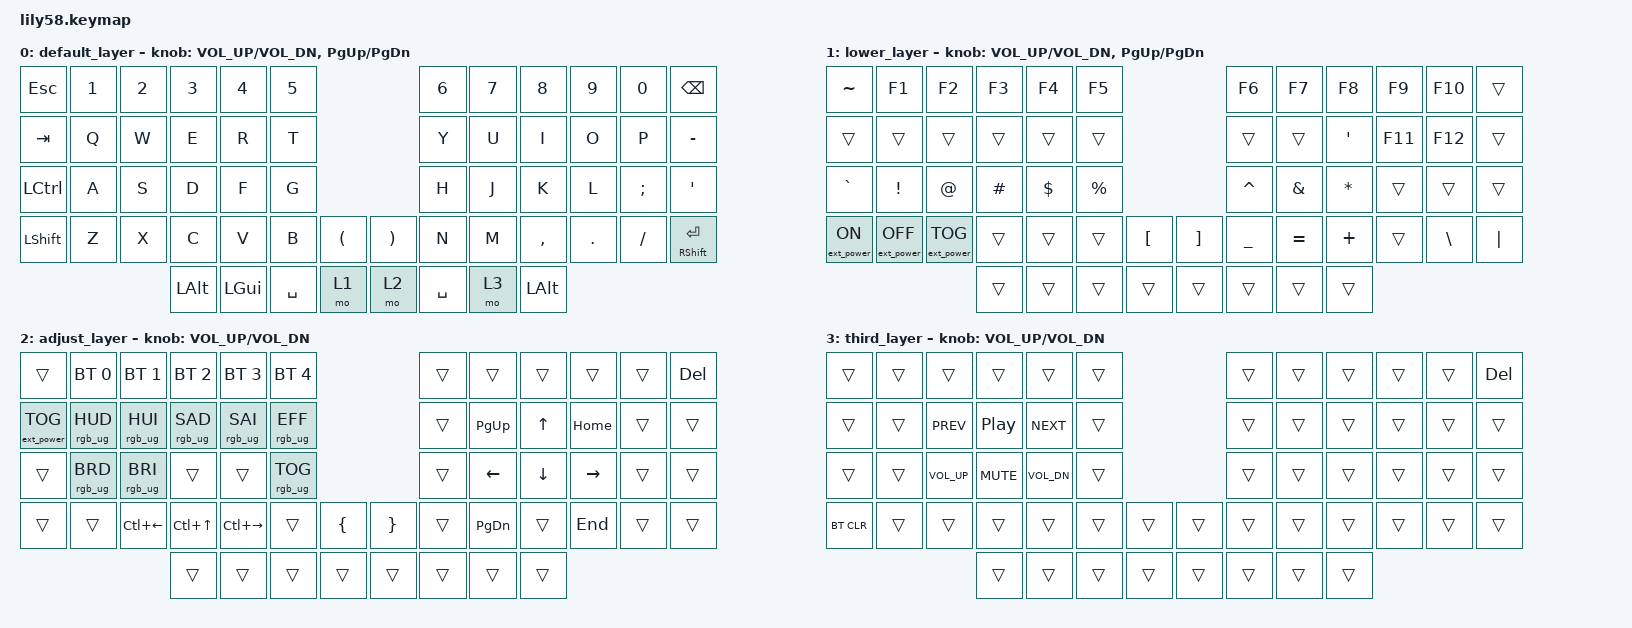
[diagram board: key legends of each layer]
/*
 * Copyright (c) 2020 The ZMK Contributors
 *
 * SPDX-License-Identifier: MIT
 */

#include <behaviors.dtsi>
#include <dt-bindings/zmk/keys.h>
#include <dt-bindings/zmk/bt.h>
#include <dt-bindings/zmk/ext_power.h>
#include <dt-bindings/zmk/rgb.h>
/ {
        // Activate ADJUST layer by pressing raise and lower
/*    conditional_layers {
        compatible = "zmk,conditional-layers";

        adjust_layer {
            if-layers = <1 2>;
            then-layer = <3>;
        };
    }; */

    keymap {
        compatible = "zmk,keymap";

        default_layer {
// ------------------------------------------------------------------------------------------------------------
// |  ESC  |  1  |  2  |  3   |  4   |  5   |                   |  6   |  7    |  8    |  9   |   0   |   BSPC |
// |  TAB  |  Q  |  W  |  E   |  R   |  T   |                   |  Y   |  U    |  I    |  O   |   P   |   -    |
// |  CTRL |  A  |  S  |  D   |  F   |  G   |                   |  H   |  J    |  K    |  L   |   ;   |  ' |
// |  SHIFT |  Z  |  X  |  C   |  V  |  B   |  (     |  |)      |  N   |  M    |  ,    |  .   |   /   |  ENTER |
//                     | ALT  | GUI  | SPACE|  LOWER |  | RAISE | SPACE| ???  | LALT   |
            bindings = <
&kp ESC   &kp N1 &kp N2 &kp N3   &kp N4   &kp N5                     &kp N6 &kp N7   &kp N8    &kp N9  &kp N0   &kp BSPC
&kp TAB   &kp Q  &kp W  &kp E    &kp R    &kp T                      &kp Y  &kp U    &kp I     &kp O   &kp P    &kp MINUS
&kp LCTRL &kp A  &kp S  &kp D    &kp F    &kp G                      &kp H  &kp J    &kp K     &kp L   &kp SEMI &kp SQT
&kp LSHFT &kp Z  &kp X  &kp C    &kp V    &kp B  &kp LPAR   &kp RPAR  &kp N  &kp M    &kp COMMA &kp DOT &kp FSLH &mt RSHFT RET
                        &kp LALT &kp LGUI &kp SPACE &mo 1   &mo 2 &kp SPACE  &mo 3 &kp LALT
            >;

            sensor-bindings = <&inc_dec_kp C_VOL_UP C_VOL_DN &inc_dec_kp PG_UP PG_DN>;
        };

        lower_layer {
// ------------------------------------------------------------------------------------------------------------
// |   ~   |  F1 |  F2 |  F3  |  F4  |  F5  |                   |  F6  |  F7   |  F8   |  F9  |  F10  |       |
// |       |     |     |      |      |      |                   |      |       |   '   |  F11 |  F12  |       |
// |   `   |  !  |  @  |  #   |  $   |  %   |                   |  ^   |  &    |  *    |      |       |       |
// |EXPWRON|EXPWROF|EXPWRTG|  |      |      |   [    |  |   ]   |  _   |  =    |  +    |      |   \   |  "|"  |
//                     |      |      |      |        |  |       |      |       |       |
            bindings = <
&kp TILDE &kp F1     &kp F2           &kp F3            &kp F4            &kp F5                       &kp F6 &kp F7    &kp F8    &kp F9    &kp F10   &trans 
&trans  &trans     &trans     &trans      &trans &trans                 &trans    &trans    &kp SQT   &kp F11   &kp F12    &trans
&kp GRAVE  &kp EXCL         &kp AT            &kp HASH          &kp DOLLAR   &kp PRCNT                    &kp CARET &kp AMPS  &kp ASTRK &trans  &trans  &trans
&ext_power EP_ON &ext_power EP_OFF &ext_power EP_TOG &trans &trans &trans  &kp LBKT       &kp RBKT    &kp UNDER &kp EQUAL &kp PLUS  &trans  &kp BSLH  &kp PIPE
                                              &trans            &trans       &trans        &trans   &trans    &trans    &trans    &trans
            >;

             sensor-bindings = <&inc_dec_kp C_VOL_UP C_VOL_DN &inc_dec_kp PG_UP PG_DN>;
        };

        adjust_layer {
// ----------------------------------------------------------------------------------------------------------------------------
// |        |  BT1    |  BT2    |   BT3   |   BT4   |   BT5   |                  |      |      |       |      |       |  del  |
// | EXTPWR | RGB_HUD | RGB_HUI | RGB_SAD | RGB_SAI | RGB_EFF |                  |      | pgup |  up   | home |       |       |
// |        | RGB_BRD | RGB_BRI |         |         | RGB_TOG |                  |      | left |  down | right|       |       |
// |        |         |  CT_LFT | CT_UP   | CT_RHT  |         |    {    | |  }   |      | pgdn |       | end  |       |       |
//                    |         |         |         |         |         | |      |      |      |       |      
            bindings = <
&trans        &bt BT_SEL 0    &bt BT_SEL 1    &bt BT_SEL 2    &bt BT_SEL 3    &bt BT_SEL 4                            &trans &trans &trans &trans &trans &kp DEL
&ext_power EP_TOG &rgb_ug RGB_HUD &rgb_ug RGB_HUI &rgb_ug RGB_SAD &rgb_ug RGB_SAI &rgb_ug RGB_EFF                         &trans &kp PG_UP &kp UP &kp HOME &trans &trans
&trans   &rgb_ug RGB_BRD &rgb_ug RGB_BRI &trans   &trans           &rgb_ug RGB_TOG                      &trans &kp LEFT &kp DOWN &kp RIGHT &trans &trans
&trans   &trans  &kp LC(LEFT)  &kp LC(UP)  &kp LC(RIGHT) &trans &kp LBRC           &kp RBRC    &trans &kp PG_DN &trans &kp END      &trans &trans
                                              &trans            &trans       &trans    &trans   &trans    &trans    &trans    &trans
            >;
            sensor-bindings = <&inc_dec_kp C_VOL_UP C_VOL_DN>;
        };

        third_layer {
// ----------------------------------------------------------------------------------------------------------------------------------------------
// |        |         |         |         |         |         |                     |         |         |         |         |         |   del   |
// |        |         |  C_PREV |  C_PP   |  C_NEXT |         |         |         |                     |         |         |         |         |
// |        |         |K_VOL_UP | K_MUTE  |K_VOL_DN |         |         |                     |         |         |         |         |         |         |
// |  BTCLR |         |         |         |         |         |         | |         |         |         |         |         |         |         |
//                              |         |         |         |         | |         |         |         |         | 
            bindings = <
&trans &trans &trans &trans &trans &trans                             &trans &trans &trans &trans &trans &kp DEL
&trans &trans &kp C_PREV &kp C_PP &kp C_NEXT &trans                              &trans &trans &trans &trans &trans &trans 
&trans &trans &kp K_VOL_UP &kp K_MUTE &kp K_VOL_DN &trans                &trans &trans &trans &trans &trans &trans 
&bt BT_CLR &trans &trans &trans &trans &trans &trans               &trans &trans &trans &trans &trans &trans &trans 
                                 &trans &trans &trans &trans &trans &trans &trans &trans
            >;
            sensor-bindings = <&inc_dec_kp C_VOL_UP C_VOL_DN>;
        };
         extra1 { status = "reserved"; };

        extra2 { status = "reserved"; };

        extra3 { status = "reserved"; };

        extra4 { status = "reserved"; };

        extra5 { status = "reserved"; };
    };
};
